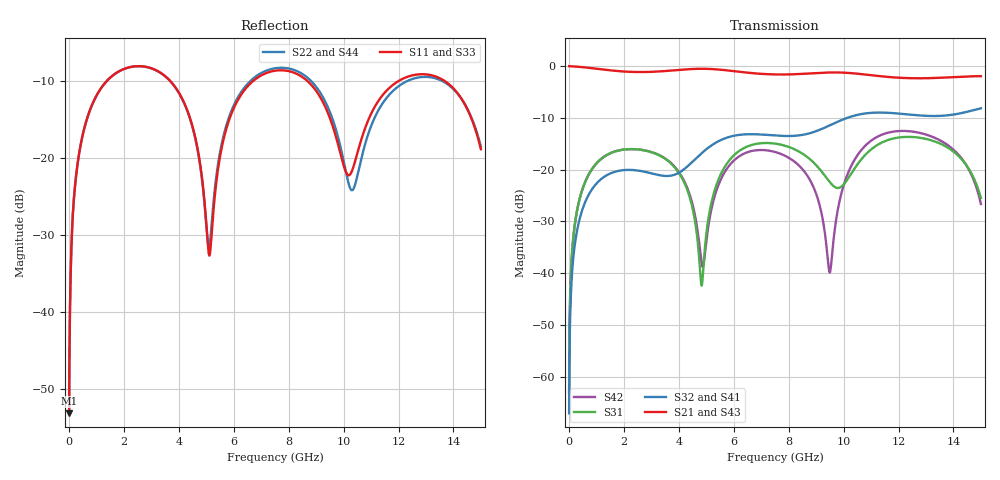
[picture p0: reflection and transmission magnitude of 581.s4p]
! Created with skrf 1.8.0 (http://scikit-rf.org).
# GHz S RI R 50.0
!freq ReS11 ImS11 ReS12 ImS12 ReS13 ImS13
! ReS14 ImS14
! ReS21 ImS21 ReS22 ImS22 ReS23 ImS23
! ReS24 ImS24
! ReS31 ImS31 ReS32 ImS32 ReS33 ImS33
! ReS34 ImS34
! ReS41 ImS41 ReS42 ImS42 ReS43 ImS43
! ReS44 ImS44
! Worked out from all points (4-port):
!   2499 points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, 5 MHz to 15 GHz, reference 50 ohm
!   strongest paths, dB at 5 MHz, 3.476 GHz, 7.19 GHz, 11.1 GHz, 15 GHz:
!     S21: 0.0, -1.0, -1.6, -1.8, -2.0
!     S43: 0.0, -1.0, -1.6, -1.8, -2.0
!     S32: -67.1, -21.2, -13.3, -9.0, -8.2
!     S41: -67.1, -21.2, -13.3, -9.0, -8.2
!     S31: -63.1, -17.8, -14.9, -15.7, -25.5
!     S42: -63.1, -17.8, -16.3, -14.1, -26.6
!   lowest |S11| = -53.1 dB at 5 MHz (marker M1), VSWR 1.00, Z = 50.2 + j0.134 ohm
!   |S11| at or under -10 dB: start of sweep to 1.389 GHz; 3.677 GHz to 6.719 GHz (3.043 GHz wide, 58.5 % of centre); 8.67 GHz to 12.02 GHz (3.353 GHz wide, 32.4 % of centre) (the widest 3 of 4)
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0.005  0.00176 0.00133  0.9982 -0.00342  8.84e-05 0.000693  -8.59e-05 -0.000435
       0.9982 -0.00342  0.00176 0.00133  -8.59e-05 -0.000435  8.84e-05 0.000693
       8.84e-05 0.000693  -8.59e-05 -0.000435  0.00176 0.00133  0.9982 -0.00342
       -8.59e-05 -0.000435  8.84e-05 0.000693  0.9982 -0.00342  0.00176 0.00133
1.619545  0.3043 0.1615  0.4702 -0.7712  0.1394 0.0501  -0.0941 0.00715
          0.4702 -0.7712  0.3043 0.1614  -0.0941 0.0072  0.1396 0.0497
          0.1394 0.0501  -0.0941 0.0072  0.3042 0.1615  0.4703 -0.7712
          -0.0941 0.00715  0.1396 0.0497  0.4703 -0.7712  0.3042 0.1614
4.833264  0.0347 -0.0688  -0.9127 -0.2333  0.00758 -0.00022  -0.0314 0.1408
          -0.9127 -0.2333  0.0365 -0.0654  -0.0307 0.141  -0.0114 -0.00465
          0.00758 -0.00022  -0.0307 0.141  0.0349 -0.0672  -0.9129 -0.233
          -0.0314 0.1408  -0.0114 -0.00465  -0.9129 -0.233  0.0355 -0.064
7.822009  0.3687 -0.00644  -0.0411 0.8288  0.1316 -0.1098  0.2057 -0.048
          -0.0411 0.8288  0.3824 -0.0219  0.2057 -0.0494  0.1267 -0.0545
          0.1316 -0.1098  0.2057 -0.0494  0.3701 -0.00648  -0.042 0.8281
          0.2057 -0.048  0.1267 -0.0545  -0.042 0.8281  0.3841 -0.0207
9.497707  0.136 -0.1206  0.7001 0.5121  -0.0597 -0.0466  0.1539 -0.2191
          0.7001 0.5121  0.1322 -0.1487  0.1521 -0.2204  -0.00996 -0.00197
          -0.0597 -0.0466  0.1521 -0.2204  0.1377 -0.1214  0.6985 0.5138
          0.1539 -0.2191  -0.00996 -0.00197  0.6985 0.5138  0.1334 -0.1497
10.59817  0.1011 0.0703  0.8371 -0.062  0.0201 0.1196  -0.0436 -0.3394
          0.8371 -0.062  0.0775 0.0475  -0.0466 -0.339  0.0798 0.1258
          0.0201 0.1196  -0.0466 -0.339  0.1018 0.0685  0.8375 -0.0592
          -0.0436 -0.3394  0.0798 0.1258  0.8375 -0.0592  0.0765 0.0468
15  0.0759 -0.0846  -0.698 -0.3878  -0.0208 -0.0491  -0.18 0.3471
    -0.698 -0.3878  0.0807 -0.0868  -0.1751 0.3497  -0.0089 -0.0458
    -0.0208 -0.0491  -0.1751 0.3497  0.0773 -0.0819  -0.6956 -0.3927
    -0.18 0.3471  -0.0089 -0.0458  -0.6956 -0.3927  0.0794 -0.0854
